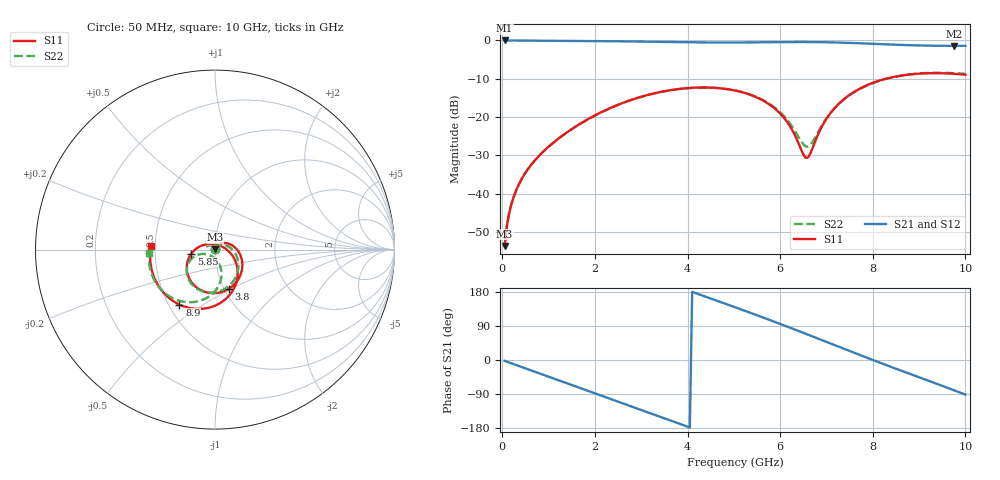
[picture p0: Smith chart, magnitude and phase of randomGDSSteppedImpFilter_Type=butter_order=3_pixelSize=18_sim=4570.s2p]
! freq	dB(S11)	phase(S11)	dB(S12)	phase(S12)
!  dB(S21)	phase(S21)	dB(S22)	phase(S22)
!S-par simulation data
#  GHz  S  DB  R 50
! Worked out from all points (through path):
!   200 points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, 50 MHz to 10 GHz, reference 50 ohm
!   highest |S21| = 0.00 dB at 50 MHz (marker M1); lowest = -1.4 dB at 9.75 GHz (marker M2)
!   group delay of S21, straight-line fit = 125 ps
!   lowest |S11| = -53.7 dB at 50 MHz (marker M3), VSWR 1.00, Z = 50 + j0.204 ohm
!   |S11| at or under -10 dB: start of sweep to 8.282 GHz
!   |S22| runs from -53.7 to -8.4 dB; largest |S21 - S12| = 0
!   S11 on the Smith chart (normalised r, x): 50 MHz: 1.00, +0.00; 3.8 GHz: 1.05, -0.49; 5.85 GHz: 0.77, -0.04; 8.9 GHz: 0.57, -0.40; 10 GHz: 0.47, +0.02
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0.05  -53.66 79.5  -0.00 -2.2  -0.00 -2.2  -53.71 80.3
0.1  -48.30 79.5  -0.01 -4.5  -0.01 -4.5  -48.25 78.8
0.2  -42.61 78.7  -0.01 -8.9  -0.01 -8.9  -42.58 76.1
0.5  -34.53 70.3  -0.03 -22.0  -0.03 -22.0  -34.54 63.9
1.15  -26.20 46.0  -0.07 -50.6  -0.07 -50.6  -26.26 33.9
1.75  -21.24 20.8  -0.12 -77.1  -0.12 -77.1  -21.30 6.6
2.55  -16.54 -14.7  -0.23 -112.4  -0.23 -112.4  -16.60 -28.7
3.4  -13.49 -53.0  -0.39 -149.7  -0.39 -149.7  -13.52 -65.0
3.8  -12.69 -71.0  -0.46 -167.2  -0.46 -167.2  -12.71 -81.6
4.4  -12.28 -98.1  -0.54 166.7  -0.54 166.7  -12.29 -106.0
5.05  -13.14 -128.3  -0.54 138.2  -0.54 138.2  -13.10 -131.6
5.85  -17.45 -170.2  -0.45 102.2  -0.45 102.2  -17.23 -159.0
6.2  -22.15 163.8  -0.42 85.9  -0.42 85.9  -21.49 -162.7
6.55  -30.64 87.2  -0.41 69.3  -0.41 69.3  -27.66 -126.5
6.7  -28.09 28.6  -0.42 62.1  -0.42 62.1  -26.48 -93.7
6.95  -21.43 -11.2  -0.46 50.1  -0.46 50.1  -21.24 -73.6
7.3  -16.14 -37.8  -0.56 33.3  -0.56 33.3  -16.21 -76.7
7.8  -12.09 -66.6  -0.77 9.5  -0.77 9.5  -12.18 -93.2
8.35  -9.80 -95.1  -1.05 -16.1  -1.05 -16.1  -9.83 -114.6
8.9  -8.75 -123.0  -1.28 -41.1  -1.28 -41.1  -8.73 -136.2
9.75  -8.71 -168.6  -1.41 -79.7  -1.41 -79.7  -8.53 -168.0
10  -8.95 176.4  -1.41 -91.4  -1.41 -91.4  -8.72 -176.9
